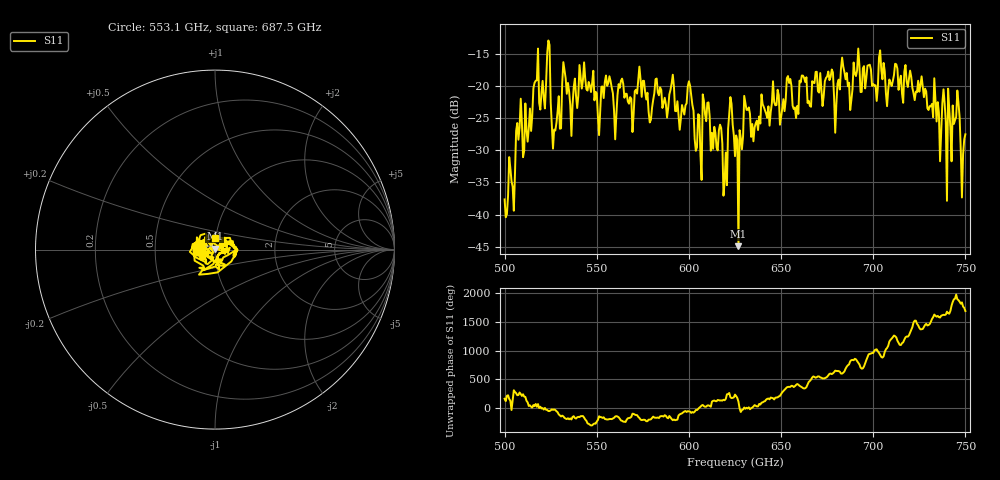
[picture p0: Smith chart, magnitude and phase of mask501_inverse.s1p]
!Created with skrf (http://scikit-rf.org).
# GHz S MA R 50.0
!freq magS11 angS11
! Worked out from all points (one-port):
!   401 points, 500 GHz to 750 GHz, reference 50 ohm
!   lowest |S11| = -44.9 dB at 626.9 GHz (marker M1), VSWR 1.01, Z = 49.8 + j0.534 ohm
!   |S11| at or under -10 dB: start of sweep to end of sweep
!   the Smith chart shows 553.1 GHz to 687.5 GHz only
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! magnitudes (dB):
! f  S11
! 500 GHz  -37.6
! 513.8 GHz  -23.5
! 516.9 GHz  -19.2
! 520.6 GHz  -19.2
! 523.8 GHz  -13.0
! 526.9 GHz  -26.8
! 531.2 GHz  -19.6
! 562.5 GHz  -20.3
! 579.4 GHz  -25.3
! 590.6 GHz  -19.6
! 593.8 GHz  -22.4
! 600.6 GHz  -20.0
! 605.6 GHz  -24.6
! 608.8 GHz  -24.4
! 619.4 GHz  -34.9
! 622.5 GHz  -21.8
! 625 GHz  -30.9
! 626.9 GHz  -44.9
! 631.2 GHz  -23.7
! 635 GHz  -28.6
! 656.2 GHz  -23.1
! 676.9 GHz  -18.6
! 680 GHz  -22.8
! 683.8 GHz  -17.0
! 687.5 GHz  -23.8
! 690.6 GHz  -18.5
! 718.8 GHz  -20.2
! 750 GHz  -27.5
